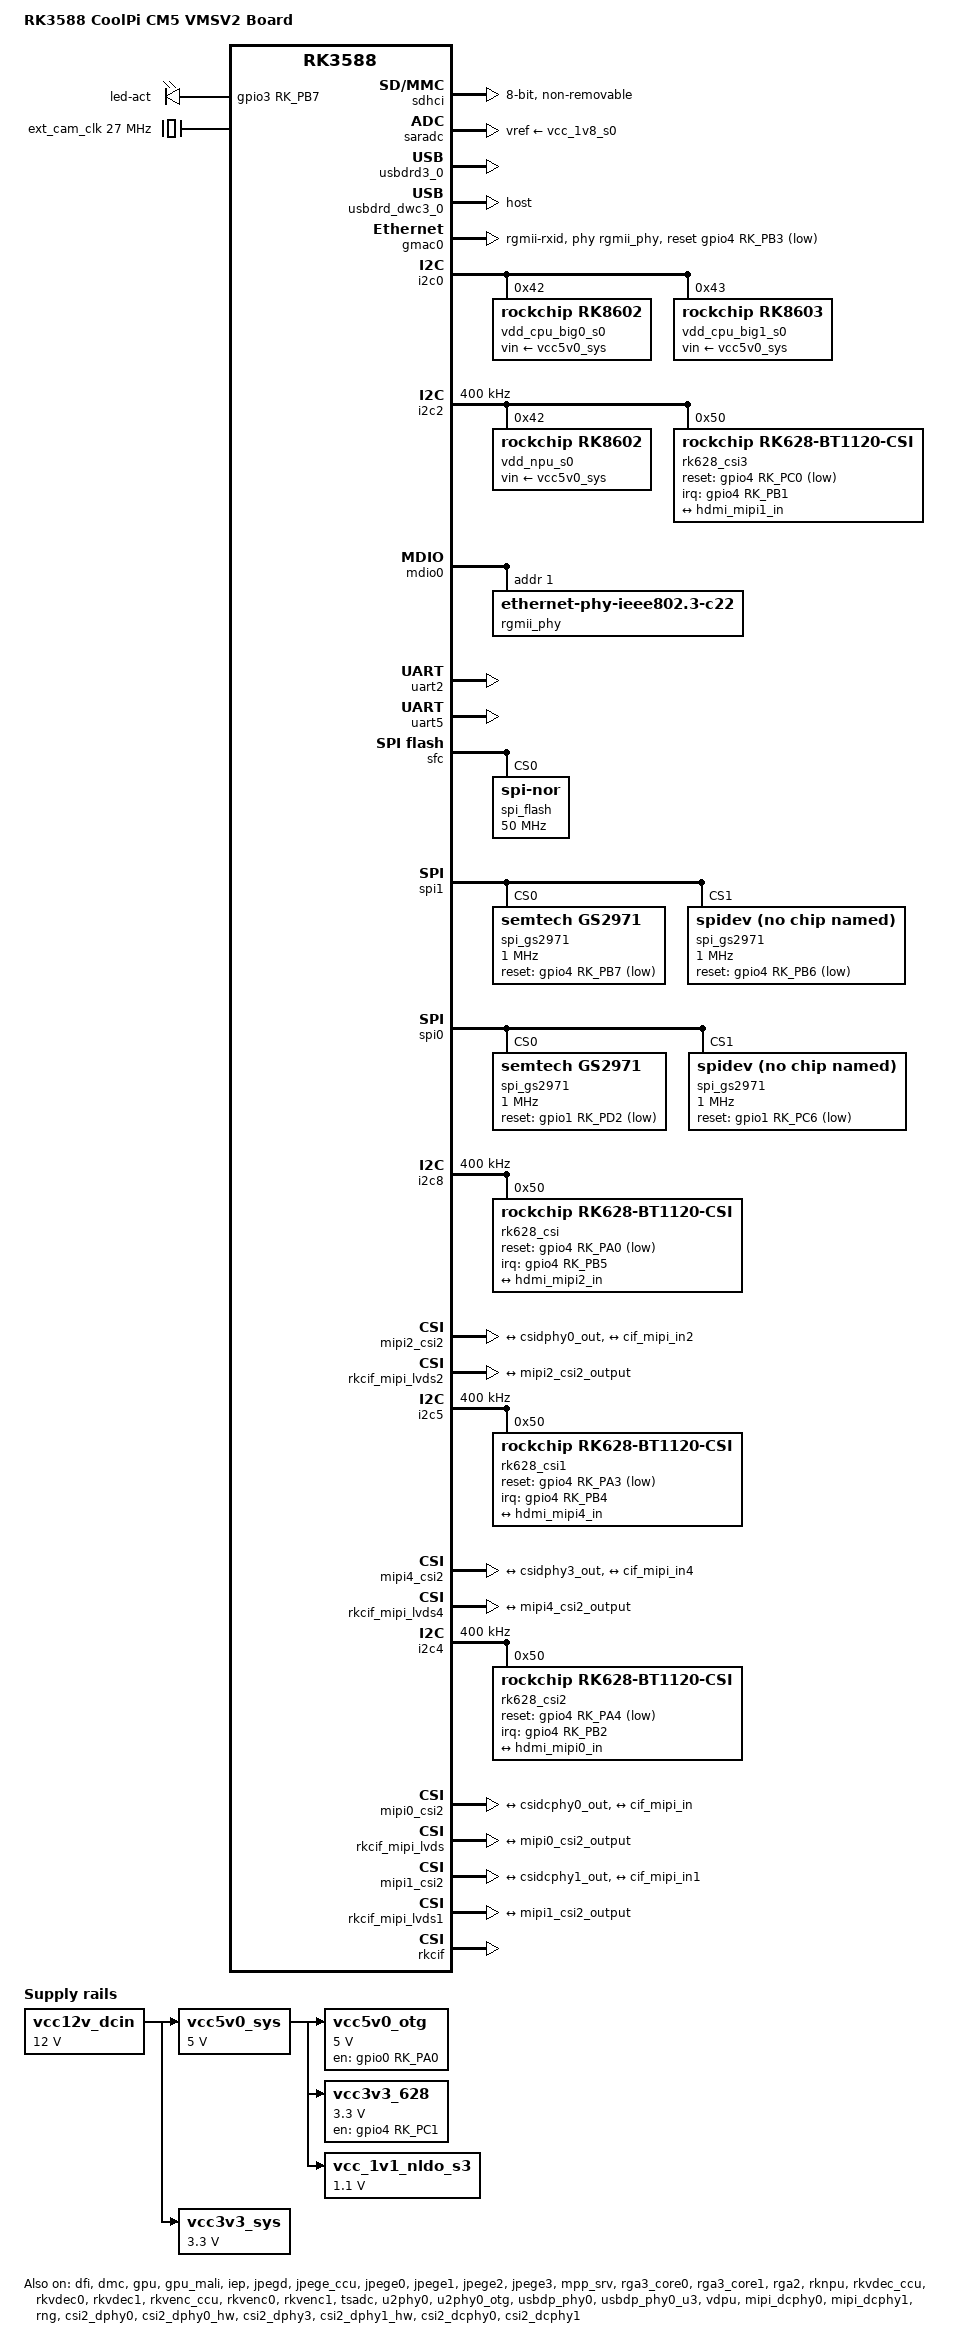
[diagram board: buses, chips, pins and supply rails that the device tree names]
// SPDX-License-Identifier: (GPL-2.0+ OR MIT)
/*
 * Copyright (c) 2021 Rockchip Electronics Co., Ltd.
 *
 */

/dts-v1/;

#include "dt-bindings/usb/pd.h"
#include "rk3588.dtsi"
#include <dt-bindings/gpio/gpio.h>
#include <dt-bindings/pwm/pwm.h>
#include <dt-bindings/pinctrl/rockchip.h>
#include <dt-bindings/input/rk-input.h>
#include <dt-bindings/display/drm_mipi_dsi.h>
#include <dt-bindings/display/rockchip_vop.h>
#include <dt-bindings/sensor-dev.h>
#include "rk3588-rk806-single.dtsi"

/ {
	model = "RK3588 CoolPi CM5 VMSV2 Board";
	compatible = "rockchip,rk3588-core", "rockchip,rk3588";
	
	aliases {
		mmc0 = &sdhci;
		mmc1 = &sdio;
		mmc2 = &sdmmc;
	};

	cspmu: cspmu@fd10c000 {
		compatible = "rockchip,cspmu";
		reg = <0x0 0xfd10c000 0x0 0x1000>,
		      <0x0 0xfd10d000 0x0 0x1000>,
		      <0x0 0xfd10e000 0x0 0x1000>,
		      <0x0 0xfd10f000 0x0 0x1000>,
		      <0x0 0xfd12c000 0x0 0x1000>,
		      <0x0 0xfd12d000 0x0 0x1000>,
		      <0x0 0xfd12e000 0x0 0x1000>,
		      <0x0 0xfd12f000 0x0 0x1000>;
	};

	debug: debug@fd104000 {
		compatible = "rockchip,debug";
		reg = <0x0 0xfd104000 0x0 0x1000>,
		      <0x0 0xfd105000 0x0 0x1000>,
		      <0x0 0xfd106000 0x0 0x1000>,
		      <0x0 0xfd107000 0x0 0x1000>,
		      <0x0 0xfd124000 0x0 0x1000>,
		      <0x0 0xfd125000 0x0 0x1000>,
		      <0x0 0xfd126000 0x0 0x1000>,
		      <0x0 0xfd127000 0x0 0x1000>;
	};

	fiq_debugger: fiq-debugger {
		compatible = "rockchip,fiq-debugger";
		rockchip,serial-id = <9>;
		rockchip,wake-irq = <0>;
		/* If enable uart uses irq instead of fiq */
		rockchip,irq-mode-enable = <1>;
		rockchip,baudrate = <115200>;  /* Only 115200 and 1500000 */
		interrupts = <GIC_SPI 423 IRQ_TYPE_LEVEL_LOW>;
		pinctrl-names = "default";
		pinctrl-0 = <&uart2m0_xfer>;
		status = "disabled";
	};

	ramoops: ramoops@110000 {
		compatible = "ramoops";
		reg = <0x0 0x110000 0x0 0xf0000>;
		record-size = <0x20000>;
		console-size = <0x80000>;
		ftrace-size = <0x00000>;
		pmsg-size = <0x50000>;
	};

	reserved-memory {
		#address-cells = <2>;
		#size-cells = <2>;
		ranges;

		cma {
			compatible = "shared-dma-pool";
			reusable;
			reg = <0x0 (256 * 0x100000) 0x0 (128 * 0x100000)>;
			linux,cma-default;
		};

		drm_logo: drm-logo@0 {
			compatible = "rockchip,drm-logo";
			reg = <0x0 0x0 0x0 0x0>;
		};
		
		drm_cubic_lut: drm-cubic-lut@0 {
			compatible = "rockchip,drm-cubic-lut";
			reg = <0x0 0x0 0x0 0x0>;
		};
	};
	
	vendor_storage_rm: vendor-storage-rm@0 {
		compatible = "rockchip,vendor-storage-rm";
		reg = <0x0 0x0 0x0 0x0>;
	};
	
	vendor_storage: vendor-storage {
		compatible = "rockchip,ram-vendor-storage";
		memory-region = <&vendor_storage_rm>;
		status = "okay";
	};

	leds: leds {
		status = "okay";
		compatible = "gpio-leds";

		led_act: led_act {
            label = "led-act";
			gpios = <&gpio3 RK_PB7 GPIO_ACTIVE_HIGH>;
			linux,default-trigger = "heartbeat";
		};
	};

	vcc12v_dcin: vcc12v-dcin {
		compatible = "regulator-fixed";
		regulator-name = "vcc12v_dcin";
		regulator-always-on;
		regulator-boot-on;
		regulator-min-microvolt = <12000000>;
		regulator-max-microvolt = <12000000>;
	};

	vcc5v0_sys: vcc5v0-sys {
		compatible = "regulator-fixed";
		regulator-name = "vcc5v0_sys";
		regulator-always-on;
		regulator-boot-on;
		regulator-min-microvolt = <5000000>;
		regulator-max-microvolt = <5000000>;
		vin-supply = <&vcc12v_dcin>;
	};

	vcc3v3_sys: vcc3v3-sys {
		compatible = "regulator-fixed";
		regulator-name = "vcc3v3_sys";
		regulator-always-on;
		regulator-boot-on;
		regulator-min-microvolt = <3300000>;
		regulator-max-microvolt = <3300000>;
		vin-supply = <&vcc12v_dcin>;

	};

	vcc5v0_otg: vcc5v0-otg-regulator {
		compatible = "regulator-fixed";
		regulator-name = "vcc5v0_otg";
		regulator-min-microvolt = <5000000>;
		regulator-max-microvolt = <5000000>;
		regulator-boot-on;
		regulator-always-on;
		enable-active-high;
		gpios = <&gpio0 RK_PA0 GPIO_ACTIVE_HIGH>;
		vin-supply = <&vcc5v0_sys>;
		pinctrl-names = "default";
		pinctrl-0 = <&typec5v_pwren>;
	};
	
	vcc3v3_628: vcc3v3-628-regulator {
		compatible = "regulator-fixed";
		regulator-name = "rk628_pwr";
		regulator-min-microvolt = <3300000>;
		regulator-max-microvolt = <3300000>;
		regulator-boot-on;
		regulator-always-on;
		enable-active-high;
		gpios = <&gpio4 RK_PC1 GPIO_ACTIVE_HIGH>;
		vin-supply = <&vcc5v0_sys>;
		pinctrl-names = "default";
		pinctrl-0 = <&rk628_pwren>;
	};
	
    vcc_1v1_nldo_s3: vcc-1v1-nldo-s3 {
            compatible = "regulator-fixed";
            regulator-name = "vcc_1v1_nldo_s3";
            regulator-always-on;
            regulator-boot-on;
            regulator-min-microvolt = <1100000>;
            regulator-max-microvolt = <1100000>;
            vin-supply = <&vcc5v0_sys>;
    };
	
	ext_cam_clk: external-camera-clock {
		compatible = "fixed-clock";
		clock-frequency = <27000000>;
		clock-output-names = "CLK_CAMERA_27MHZ";
		#clock-cells = <0>;
	};
	
};

&cpu_l0 {
	cpu-supply = <&vdd_cpu_lit_s0>;
	mem-supply = <&vdd_cpu_lit_mem_s0>;
};

&cpu_b0 {
	cpu-supply = <&vdd_cpu_big0_s0>;
	mem-supply = <&vdd_cpu_big0_mem_s0>;
};

&cpu_b2 {
	cpu-supply = <&vdd_cpu_big1_s0>;
	mem-supply = <&vdd_cpu_big1_mem_s0>;
};

&dfi {
	status = "okay";
};

&dmc {
	auto-freq-en = <1>;
	status = "okay";
};

&sdhci {
	bus-width = <8>;
	no-sdio;
	no-sd;
	non-removable;
	max-frequency = <200000000>;
	mmc-hs400-1_8v;
	mmc-hs400-enhanced-strobe;
	status = "okay";
};

&gpu {
	mali-supply = <&vdd_gpu_s0>;
	mem-supply = <&vdd_gpu_mem_s0>;
	status = "okay";
};

&gpu_mali {
	mali-supply = <&vdd_gpu_s0>;
	mem-supply = <&vdd_gpu_mem_s0>;
	status = "okay";
};

&iep {
	status = "okay";
};

&iep_mmu {
	status = "okay";
};

&jpegd {
	status = "okay";
};

&jpegd_mmu {
	status = "okay";
};

&jpege_ccu {
	status = "okay";
};

&jpege0 {
	status = "okay";
};

&jpege0_mmu {
	status = "okay";
};

&jpege1 {
	status = "okay";
};

&jpege1_mmu {
	status = "okay";
};

&jpege2 {
	status = "okay";
};

&jpege2_mmu {
	status = "okay";
};

&jpege3 {
	status = "okay";
};

&jpege3_mmu {
	status = "okay";
};

&mpp_srv {
	status = "okay";
};

&rga3_core0 {
	status = "okay";
};

&rga3_0_mmu {
	status = "okay";
};

&rga3_core1 {
	status = "okay";
};

&rga3_1_mmu {
	status = "okay";
};

&rga2 {
	status = "okay";
};

&rknpu {
	rknpu-supply = <&vdd_npu_s0>;
	mem-supply = <&vdd_npu_mem_s0>;
	status = "okay";
};

&rknpu_mmu {
	status = "okay";
};

&rkvdec_ccu {
	status = "okay";
};

&rkvdec0 {
	status = "okay";
};

&rkvdec0_mmu {
	status = "okay";
};

&rkvdec1 {
	status = "okay";
};

&rkvdec1_mmu {
	status = "okay";
};

&rkvenc_ccu {
	status = "okay";
};

&rkvenc0 {
	status = "okay";
};

&rkvenc0_mmu {
	status = "okay";
};

&rkvenc1 {
	status = "okay";
};

&rkvenc1_mmu {
	status = "okay";
};

&rockchip_suspend {
	status = "okay";
	rockchip,sleep-debug-en = <1>;
};

&saradc {
	status = "okay";
	vref-supply = <&vcc_1v8_s0>;
};

&tsadc {
	status = "okay";
};

&u2phy0 {
	status = "okay";
};

&u2phy0_otg {
	vbus-supply = <&vcc5v0_otg>;
	status = "okay";
};

&usbdp_phy0 {

	rockchip,udphy-tune-sequence = <
		0x091c 0x13 0
		0x191c 0x13 0
		0x0c2c 0x0c 0
		0x1c2c 0x0c 0
	>;
        rockchip,dp-lane-mux = < 2 3 >;
        status = "okay";
};

&usbdp_phy0_dp {
        status = "disabled";
};

&usbdp_phy0_u3 {
        status = "okay";
};

&usbdrd3_0 {
        status = "okay";
};

&usbdrd_dwc3_0 {
        dr_mode = "host";
        status = "okay";
};

&vdpu {
	status = "okay";
};

&vdpu_mmu {
	status = "okay";
};

&gmac0 {
	/* Use rgmii-rxid mode to disable rx delay inside Soc */
	phy-mode = "rgmii-rxid";
	clock_in_out = "output";

	snps,reset-gpio = <&gpio4 RK_PB3 GPIO_ACTIVE_LOW>;
	snps,reset-active-low;
	/* Reset time is 20ms, 100ms for rtl8211f */
	snps,reset-delays-us = <0 20000 100000>;

	pinctrl-names = "default";
	pinctrl-0 = <&gmac0_miim
		     &gmac0_tx_bus2
		     &gmac0_rx_bus2
		     &gmac0_rgmii_clk
		     &gmac0_rgmii_bus>;

	tx_delay = <0x44>;
	/* rx_delay = <0x3f>; */

	phy-handle = <&rgmii_phy>;
	status = "okay";
};

&i2c0 {
	status = "okay";
	pinctrl-names = "default";
	pinctrl-0 = <&i2c0m2_xfer>;

	vdd_cpu_big0_s0: vdd_cpu_big0_mem_s0: rk8602@42 {
		compatible = "rockchip,rk8602";
		reg = <0x42>;
		vin-supply = <&vcc5v0_sys>;
		regulator-compatible = "rk860x-reg";
		regulator-name = "vdd_cpu_big0_s0";
		regulator-min-microvolt = <550000>;
		regulator-max-microvolt = <1050000>;
		regulator-ramp-delay = <2300>;
		rockchip,suspend-voltage-selector = <1>;
		regulator-boot-on;
		regulator-always-on;
		regulator-state-mem {
			regulator-off-in-suspend;
		};
	};

	vdd_cpu_big1_s0: vdd_cpu_big1_mem_s0: rk8603@43 {
		compatible = "rockchip,rk8603";
		reg = <0x43>;
		vin-supply = <&vcc5v0_sys>;
		regulator-compatible = "rk860x-reg";
		regulator-name = "vdd_cpu_big1_s0";
		regulator-min-microvolt = <550000>;
		regulator-max-microvolt = <1050000>;
		regulator-ramp-delay = <2300>;
		rockchip,suspend-voltage-selector = <1>;
		regulator-boot-on;
		regulator-always-on;
		regulator-state-mem {
			regulator-off-in-suspend;
		};
	};
};

&i2c2 {
	status = "okay";

	vdd_npu_s0: vdd_npu_mem_s0: rk8602@42 {
		compatible = "rockchip,rk8602";
		reg = <0x42>;
		vin-supply = <&vcc5v0_sys>;
		regulator-compatible = "rk860x-reg";
		regulator-name = "vdd_npu_s0";
		regulator-min-microvolt = <550000>;
		regulator-max-microvolt = <950000>;
		regulator-ramp-delay = <2300>;
		rockchip,suspend-voltage-selector = <1>;
		regulator-boot-on;
		regulator-always-on;
		regulator-state-mem {
			regulator-off-in-suspend;
		};
	};
};

&mdio0 {
	rgmii_phy: phy@1 {
		compatible = "ethernet-phy-ieee802.3-c22";
		reg = <0x1>;
	};
};

&mipi_dcphy0 {
	status = "okay";
};

&mipi_dcphy1 {
	status = "okay";
};

&uart2 {
	status = "okay";
	pinctrl-names = "default";
	pinctrl-0 = <&uart2m0_xfer>;
};

&uart5 {
	status = "okay";
	pinctrl-names = "default";
	pinctrl-0 = <&uart5m0_xfer>;
};

&rng {
	status = "okay";
};

&sfc {
	status = "okay";
	max-freq = <50000000>;
	#address-cells = <1>;
	#size-cells = <0>;
	pinctrl-names = "default";
	pinctrl-0 = <&fspim2_pins>;

	spi_flash: spi-flash@0 {
		#address-cells = <1>;
		#size-cells = <0>;
		compatible = "jedec,spi-nor";
		reg = <0x0>;
		spi-max-frequency = <50000000>;
		spi-tx-bus-width = <1>;
		spi-rx-bus-width = <4>;
		status = "okay";
	};
};

&spi1 {
    status = "okay";
    max-freq = <10000000>;
    pinctrl-names = "default";
    pinctrl-0 = <&spi1m1_cs0 &spi1m1_cs1 &spi1m1_pins>;

    spi_gs2971@0 {
        status = "okay";
        compatible = "semtech,gs2971";
        reg = <0>;
        spi-max-frequency = <1000000>;

        reset-gpios = <&gpio4 RK_PB7 GPIO_ACTIVE_LOW>;
        clocks = <&ext_cam_clk>;
        clock-names = "xvclk";
        pinctrl-names = "default";
        pinctrl-0 = < &gs2971_reset1>;
    };
    spi_gs2971@1 {
        status = "okay";
        compatible = "rockchip,spidev";
        reg = <1>;
        spi-max-frequency = <1000000>;
		
		reset-gpios = <&gpio4 RK_PB6 GPIO_ACTIVE_LOW>;
        clocks = <&ext_cam_clk>;
        clock-names = "xvclk";
        pinctrl-names = "default";
        pinctrl-0 = < &gs2971_reset2>;
    };
};

&spi0 {
    status = "okay";
    max-freq = <10000000>;
    pinctrl-names = "default";
    pinctrl-0 = <&spi0m2_cs0 &spi0m2_cs1 &spi0m2_pins>;

    spi_gs2971@0 {
        status = "okay";
        compatible = "semtech,gs2971";
        reg = <0>;
        spi-max-frequency = <1000000>;

        reset-gpios = <&gpio1 RK_PD2 GPIO_ACTIVE_LOW>;
        clocks = <&ext_cam_clk>;
        clock-names = "xvclk";
        pinctrl-names = "default";
        pinctrl-0 = < &gs2971_reset3>;
    };
    spi_gs2971@1 {
        status = "okay";
        compatible = "rockchip,spidev";
        reg = <1>;
        spi-max-frequency = <1000000>;
		
		reset-gpios = <&gpio1 RK_PC6 GPIO_ACTIVE_LOW>;
        clocks = <&ext_cam_clk>;
        clock-names = "xvclk";
        pinctrl-names = "default";
        pinctrl-0 = < &gs2971_reset4>;
    };
};

&i2c8 {
	clock-frequency = <400000>;
	pinctrl-names = "default";
	pinctrl-0 = <&i2c8m2_xfer>;
	status = "okay";

	rk628_csi: rk628_csi@50 {
		reg = <0x50>;
		compatible = "rockchip,rk628-bt1120-csi";
		status = "okay";
		power-domains = <&power RK3588_PD_VI>;
		pinctrl-names = "default";
		pinctrl-0 = <&rk628_pin>;
		interrupt-parent = <&gpio4>;
		interrupts = <RK_PB5 IRQ_TYPE_LEVEL_HIGH>;//GPIO4_B5
		reset-gpios = <&gpio4 RK_PA0 GPIO_ACTIVE_LOW>;
		continues-clk = <1>;

		rockchip,camera-module-index = <0>;
		rockchip,camera-module-facing = "back";
		rockchip,camera-module-name = "HDMI-MIPI2";
		rockchip,camera-module-lens-name = "RK628-CSI";

		port {
			hdmiin_out1: endpoint {
				remote-endpoint = <&hdmi_mipi2_in>;
				data-lanes = <1 2 3 4>;
			};
		};
	};
};

&csi2_dphy0 {
	status = "okay";

	ports {
		#address-cells = <1>;
		#size-cells = <0>;
		port@0 {
			reg = <0>;
			#address-cells = <1>;
			#size-cells = <0>;

			hdmi_mipi2_in: endpoint@1 {
				reg = <1>;
				remote-endpoint = <&hdmiin_out1>;
				data-lanes = <1 2 3 4>;
			};
		};
		port@1 {
			reg = <1>;
			#address-cells = <1>;
			#size-cells = <0>;

			csidphy0_out: endpoint@0 {
				reg = <0>;
				remote-endpoint = <&mipi2_csi2_input>;
			};
		};
	};
};

&csi2_dphy0_hw {
	status = "okay";
};

&mipi2_csi2 {
	status = "okay";

	ports {
		#address-cells = <1>;
		#size-cells = <0>;

		port@0 {
			reg = <0>;
			#address-cells = <1>;
			#size-cells = <0>;

			mipi2_csi2_input: endpoint@1 {
				reg = <1>;
				remote-endpoint = <&csidphy0_out>;
			};
		};

		port@1 {
			reg = <1>;
			#address-cells = <1>;
			#size-cells = <0>;

			mipi2_csi2_output: endpoint@0 {
				reg = <0>;
				remote-endpoint = <&cif_mipi_in2>;
			};
		};
	};
};

&rkcif_mipi_lvds2 {
	status = "okay";

	port {
		cif_mipi_in2: endpoint {
			remote-endpoint = <&mipi2_csi2_output>;
		};
	};
};

&i2c5 {
	clock-frequency = <400000>;
	pinctrl-names = "default";
	pinctrl-0 = <&i2c5m3_xfer>;
	status = "okay";

	rk628_csi1: rk628_csi1@50 {
		reg = <0x50>;
		compatible = "rockchip,rk628-bt1120-csi";
		status = "okay";
		power-domains = <&power RK3588_PD_VI>;
		pinctrl-names = "default";
		pinctrl-0 = <&rk628_pin1>;
		interrupt-parent = <&gpio4>;
		interrupts = <RK_PB4 IRQ_TYPE_LEVEL_HIGH>;//GPIO4_B5
		reset-gpios = <&gpio4 RK_PA3 GPIO_ACTIVE_LOW>;
		continues-clk = <1>;

		rockchip,camera-module-index = <0>;
		rockchip,camera-module-facing = "back";
		rockchip,camera-module-name = "HDMI-MIPI4";
		rockchip,camera-module-lens-name = "RK628-CSI";

		port {
			hdmiin_out2: endpoint {
				remote-endpoint = <&hdmi_mipi4_in>;
				data-lanes = <1 2 3 4>;
			};
		};
	};
};

&csi2_dphy3 {
	status = "okay";

	ports {
		#address-cells = <1>;
		#size-cells = <0>;
		port@0 {
			reg = <0>;
			#address-cells = <1>;
			#size-cells = <0>;

			hdmi_mipi4_in: endpoint@1 {
				reg = <1>;
				remote-endpoint = <&hdmiin_out2>;
				data-lanes = <1 2 3 4>;
			};
		};
		port@1 {
			reg = <1>;
			#address-cells = <1>;
			#size-cells = <0>;

			csidphy3_out: endpoint@0 {
				reg = <0>;
				remote-endpoint = <&mipi4_csi2_input>;
			};
		};
	};
};

&csi2_dphy1_hw {
	status = "okay";
};

&mipi4_csi2 {
	status = "okay";

	ports {
		#address-cells = <1>;
		#size-cells = <0>;

		port@0 {
			reg = <0>;
			#address-cells = <1>;
			#size-cells = <0>;

			mipi4_csi2_input: endpoint@1 {
				reg = <1>;
				remote-endpoint = <&csidphy3_out>;
			};
		};

		port@1 {
			reg = <1>;
			#address-cells = <1>;
			#size-cells = <0>;

			mipi4_csi2_output: endpoint@0 {
				reg = <0>;
				remote-endpoint = <&cif_mipi_in4>;
			};
		};
	};
};

&rkcif_mipi_lvds4 {
	status = "okay";

	port {
		cif_mipi_in4: endpoint {
			remote-endpoint = <&mipi4_csi2_output>;
		};
	};
};

&i2c4 {
	clock-frequency = <400000>;
	pinctrl-names = "default";
	pinctrl-0 = <&i2c4m3_xfer>;
	status = "okay";

	rk628_csi2: rk628_csi2@50 {
		reg = <0x50>;
		compatible = "rockchip,rk628-bt1120-csi";
		status = "okay";
		power-domains = <&power RK3588_PD_VI>;
		pinctrl-names = "default";
		pinctrl-0 = <&rk628_pin2>;
		interrupt-parent = <&gpio4>;
		interrupts = <RK_PB2 IRQ_TYPE_LEVEL_HIGH>;//GPIO4_B5
		reset-gpios = <&gpio4 RK_PA4 GPIO_ACTIVE_LOW>;
		continues-clk = <1>;

		rockchip,camera-module-index = <0>;
		rockchip,camera-module-facing = "back";
		rockchip,camera-module-name = "HDMI-MIPI0";
		rockchip,camera-module-lens-name = "RK628-CSI";

		port {
			hdmiin_out3: endpoint {
				remote-endpoint = <&hdmi_mipi0_in>;
				data-lanes = <1 2 3 4>;
			};
		};
	};
};

&csi2_dcphy0 {
	status = "okay";

	ports {
		#address-cells = <1>;
		#size-cells = <0>;
		port@0 {
			reg = <0>;
			#address-cells = <1>;
			#size-cells = <0>;

			hdmi_mipi0_in: endpoint@1 {
				reg = <1>;
				remote-endpoint = <&hdmiin_out3>;
				data-lanes = <1 2 3 4>;
			};
		};
		port@1 {
			reg = <1>;
			#address-cells = <1>;
			#size-cells = <0>;

			csidcphy0_out: endpoint@0 {
				reg = <0>;
				remote-endpoint = <&mipi0_csi2_input>;
			};
		};
	};
};

&mipi0_csi2 {
	status = "okay";

	ports {
		#address-cells = <1>;
		#size-cells = <0>;

		port@0 {
			reg = <0>;
			#address-cells = <1>;
			#size-cells = <0>;

			mipi0_csi2_input: endpoint@1 {
				reg = <1>;
				remote-endpoint = <&csidcphy0_out>;
			};
		};

		port@1 {
			reg = <1>;
			#address-cells = <1>;
			#size-cells = <0>;

			mipi0_csi2_output: endpoint@0 {
				reg = <0>;
				remote-endpoint = <&cif_mipi_in>;
			};
		};
	};
};

&rkcif_mipi_lvds {
	status = "okay";

	port {
		cif_mipi_in: endpoint {
			remote-endpoint = <&mipi0_csi2_output>;
		};
	};
};

&i2c2 {
	clock-frequency = <400000>;
	pinctrl-names = "default";
	pinctrl-0 = <&i2c2m4_xfer>;
	status = "okay";

	rk628_csi3: rk628_csi3@50 {
		reg = <0x50>;
		compatible = "rockchip,rk628-bt1120-csi";
		status = "okay";
		power-domains = <&power RK3588_PD_VI>;
		pinctrl-names = "default";
		pinctrl-0 = <&rk628_pin3>;
		interrupt-parent = <&gpio4>;
		interrupts = <RK_PB1 IRQ_TYPE_LEVEL_HIGH>;//GPIO4_B1
		reset-gpios = <&gpio4 RK_PC0 GPIO_ACTIVE_LOW>;
		continues-clk = <1>;

		rockchip,camera-module-index = <0>;
		rockchip,camera-module-facing = "back";
		rockchip,camera-module-name = "HDMI-MIPI1";
		rockchip,camera-module-lens-name = "RK628-CSI";

		port {
			hdmiin_out4: endpoint {
				remote-endpoint = <&hdmi_mipi1_in>;
				data-lanes = <1 2 3 4>;
			};
		};
	};
};

&csi2_dcphy1 {
	status = "okay";

	ports {
		#address-cells = <1>;
		#size-cells = <0>;
		port@0 {
			reg = <0>;
			#address-cells = <1>;
			#size-cells = <0>;

			hdmi_mipi1_in: endpoint@1 {
				reg = <1>;
				remote-endpoint = <&hdmiin_out4>;
				data-lanes = <1 2 3 4>;
			};
		};
		port@1 {
			reg = <1>;
			#address-cells = <1>;
			#size-cells = <0>;

			csidcphy1_out: endpoint@0 {
				reg = <0>;
				remote-endpoint = <&mipi1_csi2_input>;
			};
		};
	};
};

&mipi1_csi2 {
	status = "okay";

	ports {
		#address-cells = <1>;
		#size-cells = <0>;

		port@0 {
			reg = <0>;
			#address-cells = <1>;
			#size-cells = <0>;

			mipi1_csi2_input: endpoint@1 {
				reg = <1>;
				remote-endpoint = <&csidcphy1_out>;
			};
		};

		port@1 {
			reg = <1>;
			#address-cells = <1>;
			#size-cells = <0>;

			mipi1_csi2_output: endpoint@0 {
				reg = <0>;
				remote-endpoint = <&cif_mipi_in1>;
			};
		};
	};
};

&rkcif_mipi_lvds1 {
	status = "okay";

	port {
		cif_mipi_in1: endpoint {
			remote-endpoint = <&mipi1_csi2_output>;
		};
	};
};

&rkcif {
	status = "okay";
};

&rkcif_mmu {
	status = "okay";
};

&pinctrl {
	usb-typec {
		typec5v_pwren: typec5v-pwren {
			rockchip,pins = <0 RK_PA0 RK_FUNC_GPIO &pcfg_pull_up>;
		};
	};
	
	rk628 {
		rk628_pwren: rk628-pwren {
			rockchip,pins = <4 RK_PC1 RK_FUNC_GPIO &pcfg_pull_up>;
		};
	};
	
	gs2971 {
		gs2971_reset1: gs2971-reset1 {
			rockchip,pins = <4 RK_PB7 RK_FUNC_GPIO &pcfg_pull_up>;
		};
		gs2971_reset2: gs2971-reset2 {
			rockchip,pins = <4 RK_PB6 RK_FUNC_GPIO &pcfg_pull_up>;
		};
		gs2971_reset3: gs2971-reset3 {
			rockchip,pins = <1 RK_PD2 RK_FUNC_GPIO &pcfg_pull_up>;
		};
		gs2971_reset4: gs2971-reset4 {
			rockchip,pins = <1 RK_PC6 RK_FUNC_GPIO &pcfg_pull_up>;
		};
	};
	
	hdmiin {
		rk628_pin: rk628-pin {
		rockchip,pins = <4 RK_PB5 RK_FUNC_GPIO &pcfg_pull_up>,//INT
			<4 RK_PA0 RK_FUNC_GPIO &pcfg_pull_up>;//RESET
		};
		
		rk628_pin1: rk628-pin1 {
		rockchip,pins = <4 RK_PB4 RK_FUNC_GPIO &pcfg_pull_up>,//INT
			<4 RK_PA3 RK_FUNC_GPIO &pcfg_pull_up>;//RESET
		};
		
		rk628_pin2: rk628-pin2 {
		rockchip,pins = <4 RK_PB2 RK_FUNC_GPIO &pcfg_pull_up>,//INT
			<4 RK_PA4 RK_FUNC_GPIO &pcfg_pull_up>;//RESET
		};
		
		rk628_pin3: rk628-pin3 {
		rockchip,pins = <4 RK_PB1 RK_FUNC_GPIO &pcfg_pull_up>,//INT
			<4 RK_PC0 RK_FUNC_GPIO &pcfg_pull_up>;//RESET
		};
	};	

};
